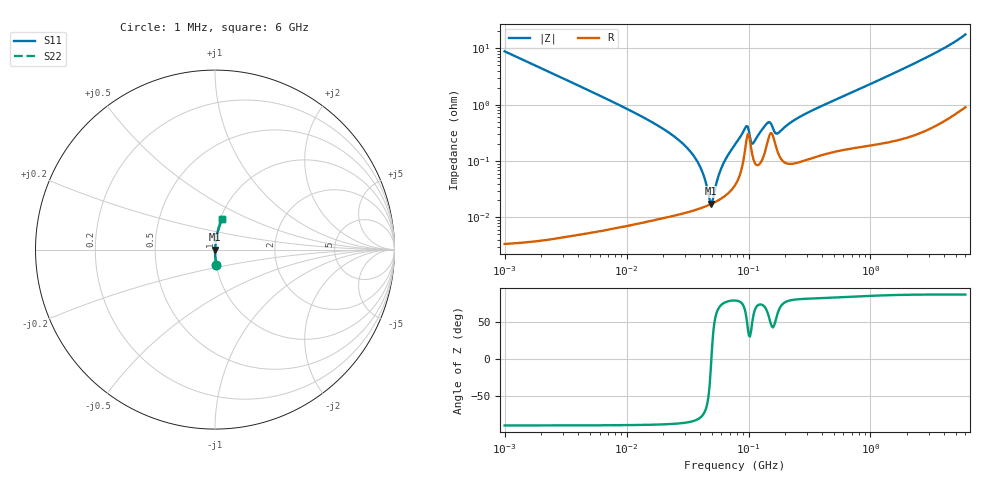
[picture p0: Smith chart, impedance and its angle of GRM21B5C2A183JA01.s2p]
!Murata Part Number: GRM21B5C2A183JA01
!These Parameters are Measured in Series Mode Connection
!Data Generated on Mar 30, 2021
!  o--ll--o
!Port1  Port2
!  o------o
!Operation Temp=25[degC], DC Bias Voltage=0[V]
!Freq. Start=1000[kHz] Stop=6[GHz] 401[Steps]
# Hz S RI R 50
!Freq.(Hz) S11(Real) S11(Imag) S21(Real) S21(Imag) S12(Real) S12(Imag) S22(Real) S22(Imag)
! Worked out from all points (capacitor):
!   401 points, 1 MHz to 6 GHz, reference 50 ohm
!   read as one part in series: C = 17.9 nF near 1.044 MHz
!   lowest |Z| = 17.7 mohm at 49.06 MHz (marker M1)
!   series resonance near 49.59 MHz, so ESL is about 580 pH
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1000000  0.00789 -0.0883  0.9921 0.0883  0.9921 0.0883  0.00789 -0.0883
4293785  0.000472 -0.0205  0.9995 0.0205  0.9995 0.0205  0.000472 -0.0205
1.843659e7  0.000111 -0.00416  0.9999 0.00416  0.9999 0.00416  0.000111 -0.00416
2.727078e7  0.000119 -0.00228  0.9999 0.00228  0.9999 0.00228  0.000119 -0.00228
3.540316e7  0.000134 -0.00125  0.9999 0.00125  0.9999 0.00125  0.000134 -0.00125
4.12249e7  0.000148 -0.000678  0.9999 0.000678  0.9999 0.000678  0.000148 -0.000678
4.905945e7  0.000172 -3.96e-05  0.9998 3.96e-05  0.9998 3.96e-05  0.000172 -3.96e-05
5.124051e7  0.00018 0.000122  0.9998 -0.000122  0.9998 -0.000122  0.00018 0.000122
5.589783e7  0.000199 0.000452  0.9998 -0.000452  0.9998 -0.000452  0.000199 0.000452
6.097846e7  0.000223 0.000795  0.9998 -0.000795  0.9998 -0.000795  0.000223 0.000795
7.745967e7  0.000375 0.00192  0.9996 -0.00192  0.9996 -0.00192  0.000375 0.00192
9.420718e7  0.00173 0.00351  0.9983 -0.00351  0.9983 -0.00351  0.00173 0.00351
9.83954e7  0.00301 0.00278  0.997 -0.00278  0.997 -0.00278  0.00301 0.00278
1.050294e8  0.00169 0.00134  0.9983 -0.00134  0.9983 -0.00134  0.00169 0.00134
1.096987e8  0.00108 0.0018  0.9989 -0.0018  0.9989 -0.0018  0.00108 0.0018
1.424119e8  0.00209 0.00423  0.9979 -0.00423  0.9979 -0.00423  0.00209 0.00423
1.487431e8  0.00291 0.00394  0.9971 -0.00394  0.9971 -0.00394  0.00291 0.00394
1.732027e8  0.00147 0.00272  0.9985 -0.00272  0.9985 -0.00272  0.00147 0.00272
2.297971e8  0.000923 0.00503  0.9991 -0.00503  0.9991 -0.00503  0.000923 0.00503
3.325952e8  0.00119 0.00783  0.9988 -0.00783  0.9988 -0.00783  0.00119 0.00783
1.428092e9  0.00327 0.0331  0.9967 -0.0331  0.9967 -0.0331  0.00327 0.0331
6e9  0.0385 0.1685  0.9615 -0.1685  0.9615 -0.1685  0.0385 0.1685
